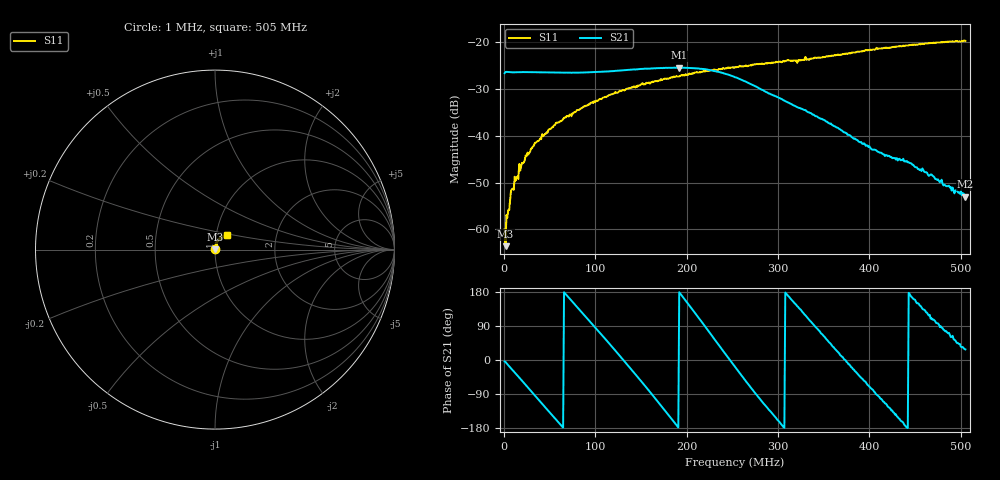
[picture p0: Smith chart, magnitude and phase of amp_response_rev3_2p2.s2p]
# HZ S RI R 50
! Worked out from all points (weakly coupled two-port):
!   505 points, 1 MHz to 505 MHz, reference 50 ohm
!   highest |S21| = -25.41 dB at 192 MHz (marker M1); lowest = -53.0 dB at 505 MHz (marker M2)
!   lowest |S11| = -63.6 dB at 2 MHz (marker M3), VSWR 1.00, Z = 50 + j0.0584 ohm
!   |S11| at or under -10 dB: start of sweep to end of sweep
!   S12 and S22 are empty: the file has one direction only
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1000000  -0.000684 0.000726  0.0466 -0.00329  0 0  0 0
2000000  0.000313 0.000583  0.048 -0.0044  0 0  0 0
4000000  -7.09e-05 0.00133  0.0473 -0.00927  0 0  0 0
5000000  0.000542 0.00153  0.0467 -0.0115  0 0  0 0
1e7  -0.000236 0.00272  0.0424 -0.022  0 0  0 0
1.9e7  0.000896 0.00464  0.0297 -0.0377  0 0  0 0
2.6e7  0.00187 0.00634  0.0155 -0.0455  0 0  0 0
3.5e7  0.0014 0.00835  -0.00504 -0.0476  0 0  0 0
5.7e7  0.00352 0.0132  -0.0436 -0.0189  0 0  0 0
8.5e7  0.00555 0.019  -0.0284 0.038  0 0  0 0
1.06e8  0.00667 0.0239  0.0169 0.0453  0 0  0 0
1.31e8  0.00796 0.0299  0.0503 -0.000192  0 0  0 0
1.69e8  0.00937 0.0377  -0.0191 -0.0494  0 0  0 0
1.92e8  0.00999 0.0421  -0.0536 0.00109  0 0  0 0
2.2e8  0.012 0.0471  0.000641 0.0517  0 0  0 0
2.53e8  0.0145 0.0522  0.0401 -0.0132  0 0  0 0
2.96e8  0.0205 0.0573  -0.0227 -0.0144  0 0  0 0
3.37e8  0.0261 0.0615  -0.00255 0.017  0 0  0 0
4.03e8  0.0423 0.0718  0.00156 -0.00696  0 0  0 0
4.21e8  0.0463 0.0738  -0.00349 -0.00504  0 0  0 0
4.43e8  0.0522 0.077  -0.00522 0.000253  0 0  0 0
5.05e8  0.0643 0.0811  0.00199 0.00105  0 0  0 0
